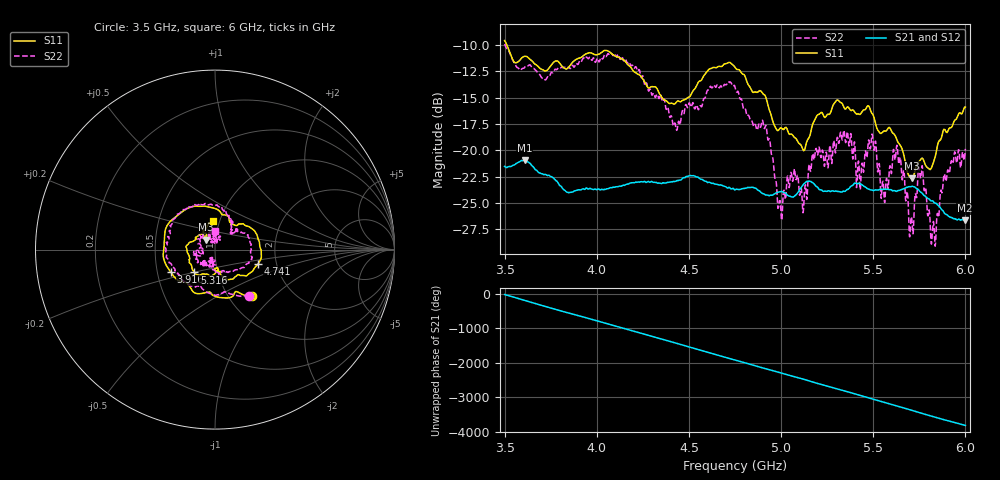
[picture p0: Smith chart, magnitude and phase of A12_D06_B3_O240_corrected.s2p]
! Created with skrf 1.9.0 (http://scikit-rf.org).
# Hz S RI R 50.0
!freq ReS11 ImS11 ReS21 ImS21 ReS12 ImS12 ReS22 ImS22
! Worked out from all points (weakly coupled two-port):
!   1601 points, 3.5 GHz to 6 GHz, reference 50 ohm
!   highest |S21| = -20.93 dB at 3.609 GHz (marker M1); lowest = -26.6 dB at 5.995 GHz (marker M2)
!   lowest |S11| = -22.7 dB at 5.711 GHz (marker M3), VSWR 1.16, Z = 45 + j4.95 ohm
!   |S11| at or under -10 dB: 3.513 GHz to end of sweep
!   |S22| runs from -29.1 to -9.9 dB; largest |S21 - S12| = 0.001
!   S11 on the Smith chart (normalised r, x): 3.5 GHz: 1.28, -0.75; 3.916 GHz: 0.59, -0.16; 4.741 GHz: 1.61, -0.27; 5.316 GHz: 0.77, -0.20; 6 GHz: 0.93, +0.31
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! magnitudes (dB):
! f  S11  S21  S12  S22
! 3.5 GHz  -9.6  -21.5  -21.5  -9.9
! 3.609 GHz  -11.1  -20.9  -20.9  -12.1
! 3.916 GHz  -11.2  -23.7  -23.7  -11.6
! 3.917 GHz  -11.1  -23.7  -23.7  -11.5
! 4.334 GHz  -14.4  -23.1  -23.0  -15.0
! 4.427 GHz  -15.5  -22.9  -22.9  -17.6
! 4.741 GHz  -11.9  -23.6  -23.6  -13.9
! 4.75 GHz  -12.1  -23.7  -23.7  -14.0
! 4.911 GHz  -14.7  -24.2  -24.1  -17.9
! 4.994 GHz  -17.9  -23.9  -23.9  -24.8
! 5.062 GHz  -18.5  -24.4  -24.4  -22.9
! 5.128 GHz  -19.9  -23.1  -23.1  -23.7
! 5.167 GHz  -17.8  -23.0  -23.0  -20.8
! 5.316 GHz  -15.3  -23.9  -23.8  -19.1
! 5.584 GHz  -17.8  -23.7  -23.6  -22.8
! 5.638 GHz  -19.3  -23.8  -23.7  -21.2
! 5.711 GHz  -22.7  -23.4  -23.3  -26.8
! 5.755 GHz  -20.9  -23.9  -23.8  -22.5
! 5.827 GHz  -21.1  -24.9  -24.8  -26.7
! 5.892 GHz  -18.1  -26.0  -26.0  -22.8
! 5.995 GHz  -15.9  -26.6  -26.5  -20.7
! 6 GHz  -15.9  -26.6  -26.5  -19.8
